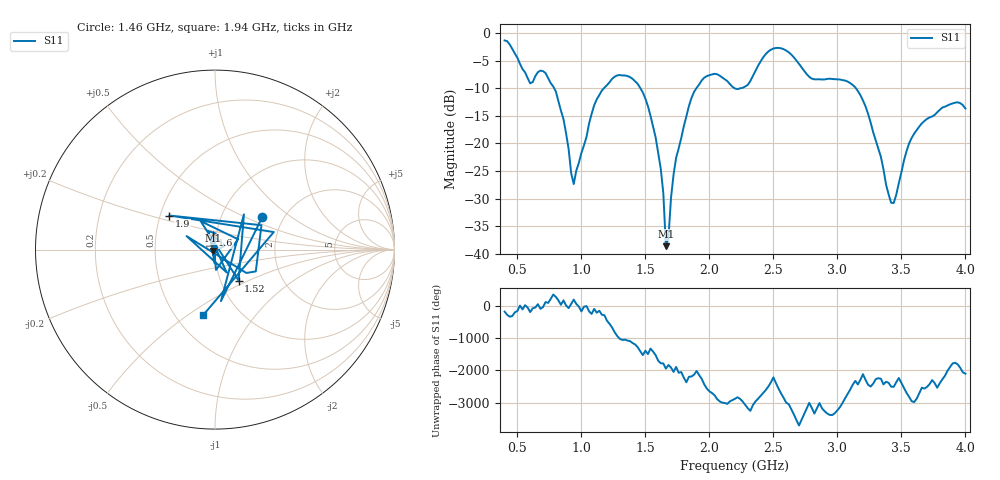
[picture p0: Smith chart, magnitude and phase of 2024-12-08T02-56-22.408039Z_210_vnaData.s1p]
!Created with skrf (http://scikit-rf.org).
# Hz S RI R 50.0
!freq ReS11 ImS11
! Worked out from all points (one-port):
!   181 points, 400 MHz to 4 GHz, reference 50 ohm
!   lowest |S11| = -38.6 dB at 1.66 GHz (marker M1), VSWR 1.02, Z = 49 - j0.652 ohm
!   |S11| at or under -10 dB: 786.9 MHz to 1.176 GHz (389.2 MHz wide, 39.7 % of centre); 1.461 GHz to 1.899 GHz (438 MHz wide, 26.1 % of centre); 3.144 GHz to end of sweep (the widest 3 of 4)
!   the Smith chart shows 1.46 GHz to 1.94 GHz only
!   S11 on the Smith chart (normalised r, x): 1.46 GHz: 1.56, +0.62; 1.52 GHz: 1.22, -0.44; 1.6 GHz: 0.96, +0.16; 1.9 GHz: 0.56, +0.24; 1.94 GHz: 0.68, -0.58
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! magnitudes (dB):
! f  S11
! 400 MHz  -1.3
! 600 MHz  -9.1
! 720 MHz  -7.3
! 860 MHz  -15.6
! 940 MHz  -27.4
! 1.1 GHz  -13.1
! 1.3 GHz  -7.6
! 1.46 GHz  -10.0
! 1.52 GHz  -13.3
! 1.6 GHz  -21.8
! 1.64 GHz  -29.0
! 1.66 GHz  -38.6
! 1.68 GHz  -37.2
! 1.72 GHz  -25.7
! 1.76 GHz  -20.9
! 1.9 GHz  -10.0
! 1.94 GHz  -8.6
! 2.2 GHz  -10.1
! 2.3 GHz  -9.4
! 2.48 GHz  -3.0
! 2.66 GHz  -4.4
! 2.8 GHz  -8.3
! 3.1 GHz  -9.1
! 3.22 GHz  -13.3
! 3.42 GHz  -30.8
! 3.56 GHz  -20.0
! 3.82 GHz  -13.5
! 4 GHz  -13.7
